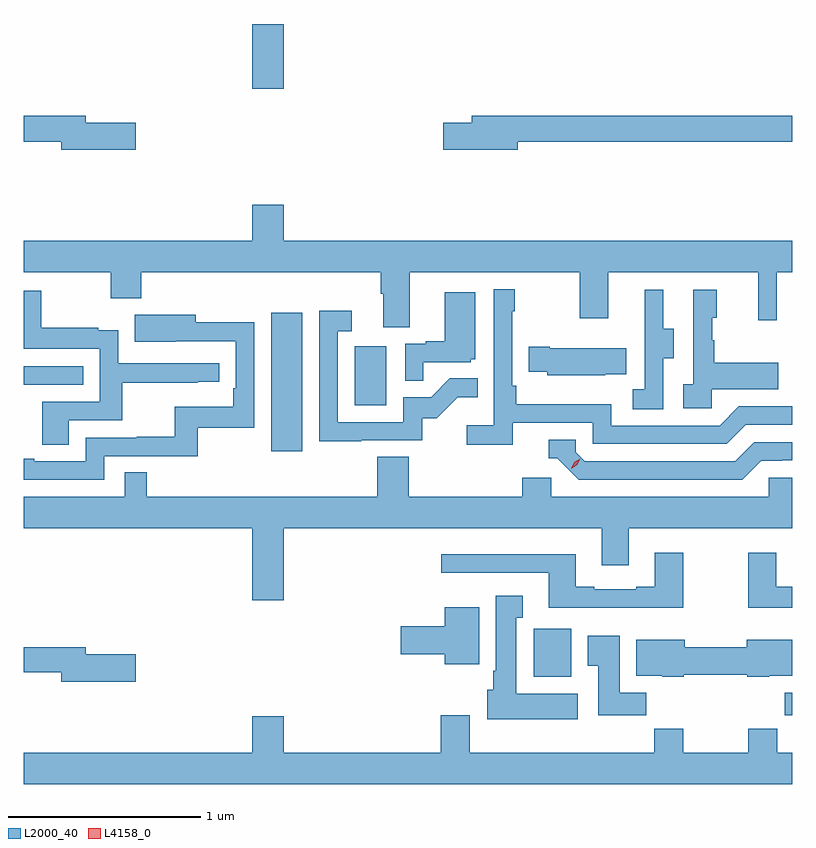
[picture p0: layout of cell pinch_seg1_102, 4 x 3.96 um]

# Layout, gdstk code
import gdstk
lib = gdstk.Library(unit=1e-6, precision=1e-09)
def R(c, l, rs):  # rectangles x0, y0, x1, y1
    for r in rs: c.add(gdstk.rectangle(r[:2], r[2:], *l))
def P(c, l, *ps):  # polygons
    for p in ps: c.add(gdstk.Polygon(p, *l))
L2000_40 = (2000, 40)
L4158_0 = (4158, 0)

pinch_seg1_102 = lib.new_cell('pinch_seg1_102')
R(pinch_seg1_102, L2000_40, [(1042.906,561.414,1042.943,561.532), (1041.597,561.614,1041.793,561.864), (1040.231,562.788,1040.392,563.509), (1040.666,563.028,1040.83,563.335), (1038.943,563.136,1039.253,563.232), (1040.132,564.678,1040.296,565.014)])
P(pinch_seg1_102, L2000_40, [(1041.514,564.4),(1042.943,564.4),(1042.943,564.536),(1041.275,564.536),(1041.275,564.5),(1041.126,564.5),(1041.126,564.358),(1041.514,564.358)],
  [(1039.525,564.5),(1039.264,564.5),(1039.264,564.536),(1038.943,564.536),(1038.943,564.4),(1039.136,564.4),(1039.136,564.358),(1039.525,564.358)],
  [(1040.953,563.72),(1041.838,563.72),(1041.838,563.481),(1041.985,563.481),(1041.985,563.72),(1042.766,563.72),(1042.766,563.472),(1042.863,563.472),(1042.863,563.72),(1042.943,563.72),(1042.943,563.884),(1040.296,563.884),(1040.296,564.073),(1040.132,564.073),(1040.132,563.884),(1038.943,563.884),(1038.943,563.72),(1039.396,563.72),(1039.396,563.585),(1039.555,563.585),(1039.555,563.72),(1040.801,563.72),(1040.801,563.608),(1040.813,563.608),(1040.813,563.434),(1040.953,563.434)],
  [(1041.488,562.938),(1041.906,562.938),(1041.906,562.827),(1042.603,562.827),(1042.702,562.926),(1042.943,562.926),(1042.943,563.022),(1042.665,563.022),(1042.566,562.923),(1042.002,562.923),(1042.002,563.035),(1041.506,563.035),(1041.506,563.131),(1041.486,563.131),(1041.486,563.519),(1041.499,563.519),(1041.499,563.632),(1041.39,563.632),(1041.39,562.924),(1041.249,562.924),(1041.249,562.822),(1041.488,562.822)],
  [(1042.524,563.111),(1042.871,563.111),(1042.871,563.251),(1042.537,563.251),(1042.537,563.366),(1042.527,563.366),(1042.527,563.484),(1042.552,563.484),(1042.552,563.629),(1042.428,563.629),(1042.428,563.138),(1042.377,563.138),(1042.377,563.013),(1042.524,563.013)],
  [(1042.272,563.272),(1042.327,563.272),(1042.327,563.427),(1042.273,563.427),(1042.273,563.629),(1042.175,563.629),(1042.175,563.415),(1042.176,563.415),(1042.176,563.111),(1042.113,563.111),(1042.113,563.008),(1042.272,563.008)],
  [(1039.177,562.95),(1039.454,562.95),(1039.454,563.146),(1039.847,563.146),(1039.847,563.151),(1039.96,563.151),(1039.96,563.247),(1039.434,563.247),(1039.434,563.419),(1039.331,563.419),(1039.331,563.431),(1039.033,563.431),(1039.033,563.625),(1038.943,563.625),(1038.943,563.322),(1039.338,563.322),(1039.338,563.046),(1039.037,563.046),(1039.037,562.822),(1039.177,562.822)],
  [(1041.023,563.253),(1041.27,563.253),(1041.27,563.268),(1041.292,563.268),(1041.292,563.617),(1041.134,563.617),(1041.134,563.362),(1041.035,563.362),(1041.035,563.349),(1040.928,563.349),(1040.928,563.155),(1041.023,563.155)],
  [(1040.699,562.845),(1041.018,562.845),(1041.018,562.962),(1041.094,562.962),(1041.201,563.069),(1041.305,563.069),(1041.305,563.168),(1041.161,563.168),(1041.063,563.07),(1040.919,563.07),(1040.919,562.941),(1040.577,562.941),(1040.577,563.415),(1040.65,563.415),(1040.65,563.521),(1040.481,563.521),(1040.481,562.84),(1040.699,562.84)],
  [(1039.362,562.764),(1039.849,562.764),(1039.849,562.911),(1040.142,562.911),(1040.142,563.462),(1039.837,563.462),(1039.837,563.5),(1039.519,563.5),(1039.519,563.36),(1039.733,563.36),(1039.733,563.361),(1040.046,563.361),(1040.046,563.116),(1040.033,563.116),(1040.033,563.02),(1039.728,563.02),(1039.728,562.865),(1039.531,562.865),(1039.531,562.86),(1039.266,562.86),(1039.266,562.737),(1038.997,562.737),(1038.997,562.75),(1038.943,562.75),(1038.943,562.641),(1039.362,562.641)],
  [(1041.971,563.189),(1042.079,563.189),(1042.079,563.326),(1041.682,563.326),(1041.682,563.334),(1041.571,563.334),(1041.571,563.204),(1041.669,563.204),(1041.669,563.186),(1041.971,563.186)],
  [(1042.783,562.74),(1042.89,562.74),(1042.89,562.743),(1042.943,562.743),(1042.943,562.836),(1042.746,562.836),(1042.647,562.737),(1041.864,562.737),(1041.816,562.785),(1041.816,562.848),(1041.677,562.848),(1041.677,562.752),(1041.72,562.752),(1041.831,562.641),(1042.684,562.641)],
  [(1040.296,562.388),(1041.953,562.388),(1041.953,562.194),(1042.093,562.194),(1042.093,562.388),(1042.943,562.388),(1042.943,562.65),(1042.821,562.65),(1042.821,562.552),(1041.69,562.552),(1041.69,562.65),(1041.539,562.65),(1041.539,562.552),(1040.948,562.552),(1040.948,562.76),(1040.783,562.76),(1040.783,562.552),(1039.583,562.552),(1039.583,562.679),(1039.467,562.679),(1039.467,562.552),(1038.943,562.552),(1038.943,562.388),(1040.132,562.388),(1040.132,562.014),(1040.296,562.014)],
  [(1042.377,562.261),(1042.229,562.261),(1042.229,562.084),(1042.133,562.084),(1042.133,562.071),(1041.913,562.071),(1041.913,562.084),(1041.817,562.084),(1041.817,562.252),(1041.117,562.252),(1041.117,562.155),(1041.677,562.155),(1041.677,561.974),(1042.377,561.974)],
  [(1042.943,562.084),(1042.861,562.084),(1042.861,562.261),(1042.714,562.261),(1042.714,561.974),(1042.943,561.974)],
  [(1041.826,561.526),(1041.508,561.526),(1041.508,561.923),(1041.541,561.923),(1041.541,562.036),(1041.401,562.036),(1041.401,561.646),(1041.386,561.646),(1041.386,561.546),(1041.356,561.546),(1041.356,561.392),(1041.826,561.392)],
  [(1041.313,561.976),(1041.134,561.976),(1041.134,561.878),(1040.904,561.878),(1040.904,561.731),(1041.134,561.731),(1041.134,561.68),(1041.313,561.68)],
  [(1042.184,561.532),(1042.045,561.532),(1042.045,561.829),(1041.878,561.829),(1041.878,561.673),(1041.935,561.673),(1041.935,561.414),(1042.184,561.414)],
  [(1042.38,561.625),(1042.71,561.625),(1042.71,561.614),(1042.824,561.614),(1042.824,561.62),(1042.943,561.62),(1042.943,561.808),(1042.706,561.808),(1042.706,561.767),(1042.384,561.767),(1042.384,561.808),(1042.133,561.808),(1042.133,561.62),(1042.266,561.62),(1042.266,561.614),(1042.38,561.614)],
  [(1039.525,561.731),(1039.264,561.731),(1039.264,561.767),(1038.943,561.767),(1038.943,561.639),(1039.136,561.639),(1039.136,561.589),(1039.525,561.589)],
  [(1042.943,561.22),(1042.865,561.22),(1042.865,561.344),(1042.714,561.344),(1042.714,561.22),(1042.377,561.22),(1042.377,561.344),(1042.225,561.344),(1042.225,561.22),(1041.265,561.22),(1041.265,561.415),(1041.113,561.415),(1041.113,561.22),(1040.296,561.22),(1040.296,561.409),(1040.132,561.409),(1040.132,561.22),(1038.943,561.22),(1038.943,561.056),(1042.943,561.056)])
P(pinch_seg1_102, L4158_0, [(1041.793,562.699),(1041.793,562.699),(1041.81,562.732),(1041.84,562.751),(1041.841,562.751),(1041.841,562.75),(1041.824,562.718),(1041.793,562.699)])

lib.write_gds('pinch_seg1_102.gds')
